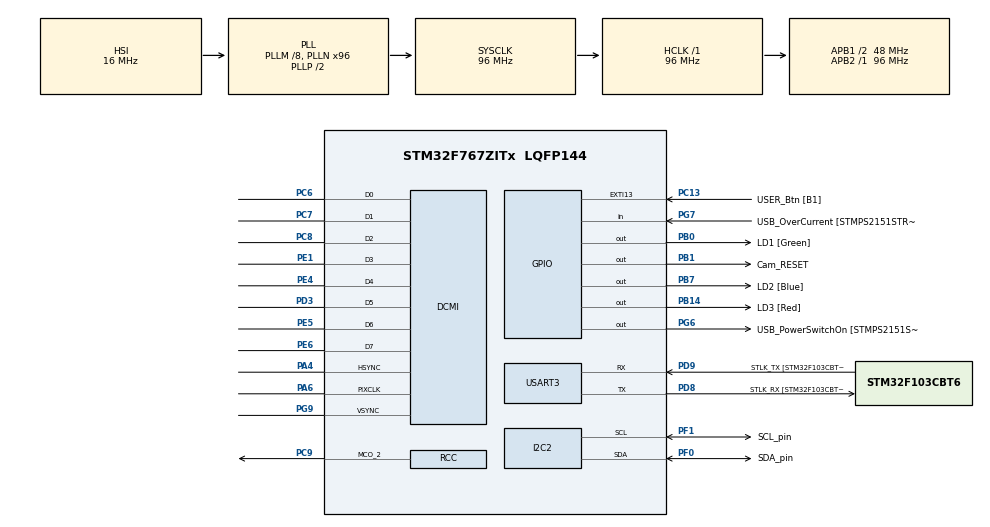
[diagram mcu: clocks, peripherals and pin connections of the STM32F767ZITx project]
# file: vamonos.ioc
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DCMI.HSPolarity=DCMI_HSPOLARITY_HIGH
DCMI.PCKPolarity=DCMI_PCKPOLARITY_RISING
DCMI.VSPolarity=DCMI_VSPOLARITY_LOW
Dma.DCMI.0.Direction=DMA_PERIPH_TO_MEMORY
Dma.DCMI.0.FIFOMode=DMA_FIFOMODE_ENABLE
Dma.DCMI.0.FIFOThreshold=DMA_FIFO_THRESHOLD_FULL
Dma.DCMI.0.Instance=DMA2_Stream1
Dma.DCMI.0.MemBurst=DMA_MBURST_INC4
Dma.DCMI.0.MemDataAlignment=DMA_MDATAALIGN_WORD
Dma.DCMI.0.MemInc=DMA_MINC_ENABLE
Dma.DCMI.0.Mode=DMA_CIRCULAR
Dma.DCMI.0.PeriphBurst=DMA_PBURST_SINGLE
Dma.DCMI.0.PeriphDataAlignment=DMA_PDATAALIGN_WORD
Dma.DCMI.0.PeriphInc=DMA_PINC_DISABLE
Dma.DCMI.0.Priority=DMA_PRIORITY_HIGH
Dma.Request0=DCMI
I2C2.Timing=0x20303E5D
Mcu.Family=STM32F7
Mcu.Name=STM32F767ZITx
Mcu.Package=LQFP144
NVIC.DCMI_IRQn=true\:0\:0\:false\:false\:true\:true\:true\:true
NVIC.DMA2_Stream1_IRQn=true\:0\:0\:false\:false\:true\:false\:true\:true
NVIC.PriorityGroup=NVIC_PRIORITYGROUP_4
NVIC.TIM2_IRQn=true\:0\:0\:false\:false\:true\:true\:true\:true
NVIC.USART3_IRQn=true\:0\:0\:false\:false\:true\:true\:true\:true
PA14.GPIO_Label=TCK
PA14.Signal=SYS_JTCK-SWCLK
PA4.GPIO_Mode=GPIO_MODE_AF_PP
PA4.GPIO_PuPd=GPIO_NOPULL
PA4.GPIO_Speed=GPIO_SPEED_FREQ_VERY_HIGH
PA4.Mode=Slave_8_bits_External_Synchro
PA4.Signal=DCMI_HSYNC
PA6.GPIO_Mode=GPIO_MODE_AF_PP
PA6.GPIO_PuPd=GPIO_NOPULL
PA6.GPIO_Speed=GPIO_SPEED_FREQ_VERY_HIGH
PA6.Mode=Slave_8_bits_External_Synchro
PA6.Signal=DCMI_PIXCLK
PB0.GPIO_Label=LD1 [Green]
PB0.PinState=GPIO_PIN_SET
PB0.Signal=GPIO_Output
PB1.GPIO_Label=Cam_RESET
PB1.Signal=GPIO_Output
PB14.GPIO_Label=LD3 [Red]
PB14.GPIO_PuPd=GPIO_NOPULL
PB14.GPIO_Speed=GPIO_SPEED_FREQ_VERY_HIGH
PB14.PinState=GPIO_PIN_SET
PB14.Signal=GPIO_Output
PB3.GPIO_Label=SW0
PB3.Signal=SYS_JTDO-SWO
PB7.GPIO_FM7=SYSCFG_PMC_I2C_PB7_FMP
PB7.GPIO_Label=LD2 [Blue]
PB7.GPIO_Speed=GPIO_SPEED_FREQ_VERY_HIGH
PB7.Signal=GPIO_Output
PC13.GPIO_Label=USER_Btn [B1]
PC13.Signal=GPXTI13
PC14/OSC32_IN.Signal=RCC_OSC32_IN
PC15/OSC32_OUT.Signal=RCC_OSC32_OUT
PC6.GPIO_Mode=GPIO_MODE_AF_PP
PC6.GPIO_PuPd=GPIO_NOPULL
PC6.GPIO_Speed=GPIO_SPEED_FREQ_VERY_HIGH
PC6.Mode=Slave_8_bits_External_Synchro
PC6.Signal=DCMI_D0
PC7.GPIO_Mode=GPIO_MODE_AF_PP
PC7.GPIO_PuPd=GPIO_NOPULL
PC7.GPIO_Speed=GPIO_SPEED_FREQ_VERY_HIGH
PC7.Mode=Slave_8_bits_External_Synchro
PC7.Signal=DCMI_D1
PC8.GPIO_Mode=GPIO_MODE_AF_PP
PC8.GPIO_PuPd=GPIO_NOPULL
PC8.GPIO_Speed=GPIO_SPEED_FREQ_VERY_HIGH
PC8.Mode=Slave_8_bits_External_Synchro
PC8.Signal=DCMI_D2
PC9.Mode=Clock-out-2
PC9.Signal=RCC_MCO_2
PD3.GPIO_Mode=GPIO_MODE_AF_PP
PD3.GPIO_PuPd=GPIO_NOPULL
PD3.GPIO_Speed=GPIO_SPEED_FREQ_VERY_HIGH
PD3.Mode=Slave_8_bits_External_Synchro
PD3.Signal=DCMI_D5
PD8.GPIO_Label=STLK_RX [STM32F103CBT6_PA3]
PD8.Mode=Asynchronous
PD8.Signal=USART3_TX
PD9.GPIO_Label=STLK_TX [STM32F103CBT6_PA2]
PD9.Mode=Asynchronous
PD9.Signal=USART3_RX
PE1.GPIO_Mode=GPIO_MODE_AF_PP
PE1.GPIO_PuPd=GPIO_NOPULL
PE1.GPIO_Speed=GPIO_SPEED_FREQ_VERY_HIGH
PE1.Mode=Slave_8_bits_External_Synchro
PE1.Signal=DCMI_D3
PE4.GPIO_Mode=GPIO_MODE_AF_PP
PE4.GPIO_PuPd=GPIO_NOPULL
PE4.GPIO_Speed=GPIO_SPEED_FREQ_VERY_HIGH
PE4.Mode=Slave_8_bits_External_Synchro
PE4.Signal=DCMI_D4
PE5.GPIO_Mode=GPIO_MODE_AF_PP
PE5.GPIO_PuPd=GPIO_NOPULL
PE5.GPIO_Speed=GPIO_SPEED_FREQ_VERY_HIGH
PE5.Mode=Slave_8_bits_External_Synchro
PE5.Signal=DCMI_D6
PE6.GPIO_Mode=GPIO_MODE_AF_PP
PE6.GPIO_PuPd=GPIO_NOPULL
PE6.GPIO_Speed=GPIO_SPEED_FREQ_VERY_HIGH
PE6.Mode=Slave_8_bits_External_Synchro
PE6.Signal=DCMI_D7
PF0.GPIO_Label=SDA_pin
PF0.Mode=I2C
PF0.Signal=I2C2_SDA
PF1.GPIO_Label=SCL_pin
PF1.Mode=I2C
PF1.Signal=I2C2_SCL
PF9.Signal=S_TIM14_CH1
PG6.GPIO_Label=USB_PowerSwitchOn [STMPS2151STR_EN]
PG6.Signal=GPIO_Output
PG7.GPIO_Label=USB_OverCurrent [STMPS2151STR_FAULT]
PG7.Signal=GPIO_Input
PG9.GPIO_Mode=GPIO_MODE_AF_PP
PG9.GPIO_PuPd=GPIO_NOPULL
PG9.GPIO_Speed=GPIO_SPEED_FREQ_VERY_HIGH
PG9.Mode=Slave_8_bits_External_Synchro
PG9.Signal=DCMI_VSYNC
PH0/OSC_IN.Mode=HSE-External-Oscillator
PH0/OSC_IN.Signal=RCC_OSC_IN
PH1/OSC_OUT.Mode=HSE-External-Oscillator
PH1/OSC_OUT.Signal=RCC_OSC_OUT
ProjectManager.HeapSize=0x200
ProjectManager.StackSize=0x400
ProjectManager.TargetToolchain=STM32CubeIDE
RCC.AHBFreq_Value=96000000
RCC.APB1CLKDivider=RCC_HCLK_DIV2
RCC.APB1Freq_Value=48000000
RCC.APB1TimFreq_Value=96000000
RCC.APB2Freq_Value=96000000
RCC.APB2TimFreq_Value=96000000
RCC.CortexFreq_Value=96000000
RCC.HCLKFreq_Value=96000000
RCC.HSE_VALUE=25000000
RCC.HSI_VALUE=16000000
RCC.LSE_VALUE=32768
RCC.PLLM=8
RCC.PLLN=96
RCC.RCC_MCODiv2=RCC_MCODIV_4
RCC.SYSCLKFreq_VALUE=96000000
RCC.SYSCLKSource=RCC_SYSCLKSOURCE_PLLCLK
RCC.USBFreq_Value=96000000
RCC.VCOOutputFreq_Value=192000000
SH.S_TIM14_CH1.0=TIM14_CH1
TIM2.Period=2500-1
TIM2.Prescaler=9600-1
USART3.VirtualMode-Asynchronous=VM_ASYNC
VP_TIM2_VS_ClockSourceINT.Mode=Internal
board=NUCLEO-F767ZI

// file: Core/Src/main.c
/* USER CODE BEGIN Header */
/**
  ******************************************************************************
  * @file           : main.c
  * @brief          : Main program body
  ******************************************************************************
  * @attention
  *
  * Copyright (c) 2023 STMicroelectronics.
  * All rights reserved.
  *
  * This software is licensed under terms that can be found in the LICENSE file
  * in the root directory of this software component.
  * If no LICENSE file comes with this software, it is provided AS-IS.
  *
  ******************************************************************************
  */
/* USER CODE END Header */
#include "main.h"

/* USER CODE BEGIN Includes */
#include "string.h"
#include "stdio.h"
#include "Funciones.h"
/* USER CODE END Includes */

/* USER CODE BEGIN PM */
#define AXL345 (0x1D << 1)
#define AXL_ID 0x00

#define OV7670 0x42

/* USER CODE END PM */

DCMI_HandleTypeDef hdcmi;
DMA_HandleTypeDef hdma_dcmi;

I2C_HandleTypeDef hi2c2;

TIM_HandleTypeDef htim2;

UART_HandleTypeDef huart3;

/* USER CODE BEGIN PV */
uint16_t time_val = 0;
uint8_t data_Reception = 0;
char data_Buffer[64] = {0};

char uart_buffer[64];
uint8_t i2c_buffer;
uint16_t data_i2c[20];

uint8_t pickLed1 = 0;
#define SIZE ((640*480)/4)
uint32_t pruebaDMA[256] = {0};
uint8_t capturando = 0;
/* USER CODE END PV */

void SystemClock_Config(void);
static void MX_GPIO_Init(void);
static void MX_TIM2_Init(void);
static void MX_USART3_UART_Init(void);
static void MX_I2C2_Init(void);
static void MX_DMA_Init(void);
static void MX_DCMI_Init(void);
/* USER CODE BEGIN PFP */
void DMATransferComplete(DMA_HandleTypeDef *hdma);
/* USER CODE END PFP */

/* USER CODE BEGIN 0 */
void HAL_UART_RxCpltCallback(UART_HandleTypeDef *huart){
	HAL_UART_Receive_IT(&huart3, &data_Reception, 1);
}

void HAL_UART_TxCpltCallback(UART_HandleTypeDef *huart){

}

void HAL_TIM_PeriodElapsedCallback(TIM_HandleTypeDef *htim){
	if(htim == &htim2){
		switch (pickLed1) {
			case 0:
				HAL_GPIO_TogglePin(LD1_GPIO_Port, LD1_Pin);
				pickLed1++;
				break;

			case 1:
				HAL_GPIO_TogglePin(LD2_GPIO_Port, LD2_Pin);
				pickLed1++;
				break;

			case 2:
				HAL_GPIO_TogglePin(LD3_GPIO_Port, LD3_Pin);
				pickLed1 = 0;
				break;
			default:
				break;
		}
	}
}

//void HAL_DCMI_LineEventCallback(DCMI_HandleTypeDef *hdcmi){
//	sprintf(uart_buffer, "Linea!");
//	HAL_UART_Transmit_IT(&huart3, (uint8_t*) uart_buffer, strlen(uart_buffer));
//}
//
//
//void HAL_DCMI_VsyncEventCallback(DCMI_HandleTypeDef *hdcmi){
//	sprintf(uart_buffer, "Vsync!");
//	HAL_UART_Transmit(&huart3, (uint8_t*) uart_buffer, strlen(uart_buffer), 10);
//}
//
void HAL_DCMI_FrameEventCallback(DCMI_HandleTypeDef *hdcmi){
	capturando = 0;
	HAL_DCMI_Stop(hdcmi);
	sprintf(uart_buffer, "Frame!");
	HAL_UART_Transmit(&huart3, (uint8_t*) uart_buffer, strlen(uart_buffer), 10);
}

void HAL_DCMI_ErrorCallback(DCMI_HandleTypeDef *hdcmi){
	sprintf(uart_buffer, "Error DCMI!");
	HAL_UART_Transmit(&huart3, (uint8_t*) uart_buffer, strlen(uart_buffer), 100);
}
/* USER CODE END 0 */

int main(void)
{

  /* MCU Configuration--------------------------------------------------------*/

  /* Reset of all peripherals, Initializes the Flash interface and the Systick. */
  HAL_Init();

  /* Configure the system clock */
  SystemClock_Config();

  /* Initialize all configured peripherals */
  MX_GPIO_Init();
  MX_TIM2_Init();
  MX_USART3_UART_Init();
  MX_I2C2_Init();
  MX_DMA_Init();
  MX_DCMI_Init();
  /* USER CODE BEGIN 2 */
  HAL_TIM_Base_Start_IT(&htim2); /* Inicio led estado */
  HAL_UART_Receive_IT(&huart3, &data_Reception, 1); /* Inicializacion RX IT */

  HAL_StatusTypeDef ret; // Variable para probar funciones

  ret = ov7670_init(&hdcmi, &hdma_dcmi, &huart3, &hi2c2);
  while(ret != HAL_OK);

  /* Imprimir cosas */
  strcpy(uart_buffer, "Inicialización completa.\n");
  HAL_UART_Transmit(&huart3, (uint8_t*) uart_buffer, strlen(uart_buffer), 10);

  /* USER CODE END 2 */

  /* Infinite loop */
  /* USER CODE BEGIN WHILE */
  while (1)
  {
	  if(data_Reception != '\0'){
		 if(data_Reception == 'a'){
//			 strcpy(uart_buffer, "Test.\n");
			 ret = HAL_DCMI_Start_DMA(&hdcmi, DCMI_MODE_SNAPSHOT, (uint32_t)pruebaDMA, 60000);

			if(ret == HAL_OK){
				capturando = 1;
				strcpy(uart_buffer, "DCMI good.\n");
				while(capturando == 1);
				HAL_DCMI_Stop(&hdcmi);

			}
			else {
				capturando = 0;
				strcpy(uart_buffer, "No hizo cosas.\n");
			}

			HAL_UART_Transmit(&huart3, (uint8_t*)uart_buffer, strlen(uart_buffer),100);
			data_Reception = '\0';
		 }

		 if(data_Reception == 'b'){
			 data_Reception = '\0';
			 for(uint32_t i = 0; i < 60000; i++){
				 char buff[4];
				 for(int j = 3; j >= 0; j--){
					 buff[j] = (0xFF) & (pruebaDMA[i] >> (8 * j));
				 }
				 HAL_UART_Transmit(&huart3, (uint8_t*)buff, sizeof(buff), 100);
			 }
		 }

		 if(data_Reception == 'c'){
		 		uint8_t buff[4] = {1,2,3,4};
		 		HAL_UART_Transmit(&huart3, (uint8_t*)buff, sizeof(buff), 100);
		 		data_Reception = '\0';
		}
	 }

  }

    /* USER CODE END WHILE */

}

void SystemClock_Config(void)
{
  RCC_OscInitTypeDef RCC_OscInitStruct = {0};
  RCC_ClkInitTypeDef RCC_ClkInitStruct = {0};

  /** Configure the main internal regulator output voltage
  */
  __HAL_RCC_PWR_CLK_ENABLE();
  __HAL_PWR_VOLTAGESCALING_CONFIG(PWR_REGULATOR_VOLTAGE_SCALE3);

  /** Initializes the RCC Oscillators according to the specified parameters
  * in the RCC_OscInitTypeDef structure.
  */
  RCC_OscInitStruct.OscillatorType = RCC_OSCILLATORTYPE_HSI;
  RCC_OscInitStruct.HSIState = RCC_HSI_ON;
  RCC_OscInitStruct.HSICalibrationValue = RCC_HSICALIBRATION_DEFAULT;
  RCC_OscInitStruct.PLL.PLLState = RCC_PLL_ON;
  RCC_OscInitStruct.PLL.PLLSource = RCC_PLLSOURCE_HSI;
  RCC_OscInitStruct.PLL.PLLM = 8;
  RCC_OscInitStruct.PLL.PLLN = 96;
  RCC_OscInitStruct.PLL.PLLP = RCC_PLLP_DIV2;
  RCC_OscInitStruct.PLL.PLLQ = 2;
  RCC_OscInitStruct.PLL.PLLR = 2;
  if (HAL_RCC_OscConfig(&RCC_OscInitStruct) != HAL_OK)
  {
    Error_Handler();
  }

  /** Activate the Over-Drive mode
  */
  if (HAL_PWREx_EnableOverDrive() != HAL_OK)
  {
    Error_Handler();
  }

  /** Initializes the CPU, AHB and APB buses clocks
  */
  RCC_ClkInitStruct.ClockType = RCC_CLOCKTYPE_HCLK|RCC_CLOCKTYPE_SYSCLK
                              |RCC_CLOCKTYPE_PCLK1|RCC_CLOCKTYPE_PCLK2;
  RCC_ClkInitStruct.SYSCLKSource = RCC_SYSCLKSOURCE_PLLCLK;
  RCC_ClkInitStruct.AHBCLKDivider = RCC_SYSCLK_DIV1;
  RCC_ClkInitStruct.APB1CLKDivider = RCC_HCLK_DIV2;
  RCC_ClkInitStruct.APB2CLKDivider = RCC_HCLK_DIV1;

  if (HAL_RCC_ClockConfig(&RCC_ClkInitStruct, FLASH_LATENCY_3) != HAL_OK)
  {
    Error_Handler();
  }
  HAL_RCC_MCOConfig(RCC_MCO2, RCC_MCO2SOURCE_SYSCLK, RCC_MCODIV_4);
}

static void MX_DCMI_Init(void)
{

  hdcmi.Instance = DCMI;
  hdcmi.Init.SynchroMode = DCMI_SYNCHRO_HARDWARE;
  hdcmi.Init.PCKPolarity = DCMI_PCKPOLARITY_RISING;
  hdcmi.Init.VSPolarity = DCMI_VSPOLARITY_LOW;
  hdcmi.Init.HSPolarity = DCMI_HSPOLARITY_HIGH;
  hdcmi.Init.CaptureRate = DCMI_CR_ALL_FRAME;
  hdcmi.Init.ExtendedDataMode = DCMI_EXTEND_DATA_8B;
  hdcmi.Init.JPEGMode = DCMI_JPEG_DISABLE;
  hdcmi.Init.ByteSelectMode = DCMI_BSM_ALL;
  hdcmi.Init.ByteSelectStart = DCMI_OEBS_ODD;
  hdcmi.Init.LineSelectMode = DCMI_LSM_ALL;
  hdcmi.Init.LineSelectStart = DCMI_OELS_ODD;
  if (HAL_DCMI_Init(&hdcmi) != HAL_OK)
  {
    Error_Handler();
  }

}

static void MX_I2C2_Init(void)
{

  hi2c2.Instance = I2C2;
  hi2c2.Init.Timing = 0x20303E5D;
  hi2c2.Init.OwnAddress1 = 0;
  hi2c2.Init.AddressingMode = I2C_ADDRESSINGMODE_7BIT;
  hi2c2.Init.DualAddressMode = I2C_DUALADDRESS_DISABLE;
  hi2c2.Init.OwnAddress2 = 0;
  hi2c2.Init.OwnAddress2Masks = I2C_OA2_NOMASK;
  hi2c2.Init.GeneralCallMode = I2C_GENERALCALL_DISABLE;
  hi2c2.Init.NoStretchMode = I2C_NOSTRETCH_DISABLE;
  if (HAL_I2C_Init(&hi2c2) != HAL_OK)
  {
    Error_Handler();
  }

  /** Configure Analogue filter
  */
  if (HAL_I2CEx_ConfigAnalogFilter(&hi2c2, I2C_ANALOGFILTER_ENABLE) != HAL_OK)
  {
    Error_Handler();
  }

  /** Configure Digital filter
  */
  if (HAL_I2CEx_ConfigDigitalFilter(&hi2c2, 0) != HAL_OK)
  {
    Error_Handler();
  }

}

static void MX_TIM2_Init(void)
{

  TIM_ClockConfigTypeDef sClockSourceConfig = {0};
  TIM_MasterConfigTypeDef sMasterConfig = {0};

  htim2.Instance = TIM2;
  htim2.Init.Prescaler = 9600-1;
  htim2.Init.CounterMode = TIM_COUNTERMODE_UP;
  htim2.Init.Period = 2500-1;
  htim2.Init.ClockDivision = TIM_CLOCKDIVISION_DIV1;
  htim2.Init.AutoReloadPreload = TIM_AUTORELOAD_PRELOAD_DISABLE;
  if (HAL_TIM_Base_Init(&htim2) != HAL_OK)
  {
    Error_Handler();
  }
  sClockSourceConfig.ClockSource = TIM_CLOCKSOURCE_INTERNAL;
  if (HAL_TIM_ConfigClockSource(&htim2, &sClockSourceConfig) != HAL_OK)
  {
    Error_Handler();
  }
  sMasterConfig.MasterOutputTrigger = TIM_TRGO_RESET;
  sMasterConfig.MasterSlaveMode = TIM_MASTERSLAVEMODE_DISABLE;
  if (HAL_TIMEx_MasterConfigSynchronization(&htim2, &sMasterConfig) != HAL_OK)
  {
    Error_Handler();
  }

}

static void MX_USART3_UART_Init(void)
{

  huart3.Instance = USART3;
  huart3.Init.BaudRate = 115200;
  huart3.Init.WordLength = UART_WORDLENGTH_8B;
  huart3.Init.StopBits = UART_STOPBITS_1;
  huart3.Init.Parity = UART_PARITY_NONE;
  huart3.Init.Mode = UART_MODE_TX_RX;
  huart3.Init.HwFlowCtl = UART_HWCONTROL_NONE;
  huart3.Init.OverSampling = UART_OVERSAMPLING_16;
  huart3.Init.OneBitSampling = UART_ONE_BIT_SAMPLE_DISABLE;
  huart3.AdvancedInit.AdvFeatureInit = UART_ADVFEATURE_NO_INIT;
  if (HAL_UART_Init(&huart3) != HAL_OK)
  {
    Error_Handler();
  }

}

static void MX_DMA_Init(void)
{

  /* DMA controller clock enable */
  __HAL_RCC_DMA2_CLK_ENABLE();

  /* DMA interrupt init */
  /* DMA2_Stream1_IRQn interrupt configuration */
  HAL_NVIC_SetPriority(DMA2_Stream1_IRQn, 0, 0);
  HAL_NVIC_EnableIRQ(DMA2_Stream1_IRQn);

}

static void MX_GPIO_Init(void)
{
  GPIO_InitTypeDef GPIO_InitStruct = {0};

  /* GPIO Ports Clock Enable */
  __HAL_RCC_GPIOE_CLK_ENABLE();
  __HAL_RCC_GPIOC_CLK_ENABLE();
  __HAL_RCC_GPIOF_CLK_ENABLE();
  __HAL_RCC_GPIOH_CLK_ENABLE();
  __HAL_RCC_GPIOA_CLK_ENABLE();
  __HAL_RCC_GPIOB_CLK_ENABLE();
  __HAL_RCC_GPIOD_CLK_ENABLE();
  __HAL_RCC_GPIOG_CLK_ENABLE();

  /*Configure GPIO pin Output Level */
  HAL_GPIO_WritePin(GPIOB, LD1_Pin|LD3_Pin, GPIO_PIN_SET);

  /*Configure GPIO pin Output Level */
  HAL_GPIO_WritePin(GPIOB, Cam_RESET_Pin|LD2_Pin, GPIO_PIN_RESET);

  /*Configure GPIO pin Output Level */
  HAL_GPIO_WritePin(USB_PowerSwitchOn_GPIO_Port, USB_PowerSwitchOn_Pin, GPIO_PIN_RESET);

  /*Configure GPIO pin : USER_Btn_Pin */
  GPIO_InitStruct.Pin = USER_Btn_Pin;
  GPIO_InitStruct.Mode = GPIO_MODE_IT_RISING;
  GPIO_InitStruct.Pull = GPIO_NOPULL;
  HAL_GPIO_Init(USER_Btn_GPIO_Port, &GPIO_InitStruct);

  /*Configure GPIO pin : PF9 */
  GPIO_InitStruct.Pin = GPIO_PIN_9;
  GPIO_InitStruct.Mode = GPIO_MODE_AF_PP;
  GPIO_InitStruct.Pull = GPIO_NOPULL;
  GPIO_InitStruct.Speed = GPIO_SPEED_FREQ_LOW;
  GPIO_InitStruct.Alternate = GPIO_AF9_TIM14;
  HAL_GPIO_Init(GPIOF, &GPIO_InitStruct);

  /*Configure GPIO pins : LD1_Pin Cam_RESET_Pin */
  GPIO_InitStruct.Pin = LD1_Pin|Cam_RESET_Pin;
  GPIO_InitStruct.Mode = GPIO_MODE_OUTPUT_PP;
  GPIO_InitStruct.Pull = GPIO_NOPULL;
  GPIO_InitStruct.Speed = GPIO_SPEED_FREQ_LOW;
  HAL_GPIO_Init(GPIOB, &GPIO_InitStruct);

  /*Configure GPIO pins : LD3_Pin LD2_Pin */
  GPIO_InitStruct.Pin = LD3_Pin|LD2_Pin;
  GPIO_InitStruct.Mode = GPIO_MODE_OUTPUT_PP;
  GPIO_InitStruct.Pull = GPIO_NOPULL;
  GPIO_InitStruct.Speed = GPIO_SPEED_FREQ_VERY_HIGH;
  HAL_GPIO_Init(GPIOB, &GPIO_InitStruct);

  /*Configure GPIO pin : USB_PowerSwitchOn_Pin */
  GPIO_InitStruct.Pin = USB_PowerSwitchOn_Pin;
  GPIO_InitStruct.Mode = GPIO_MODE_OUTPUT_PP;
  GPIO_InitStruct.Pull = GPIO_NOPULL;
  GPIO_InitStruct.Speed = GPIO_SPEED_FREQ_LOW;
  HAL_GPIO_Init(USB_PowerSwitchOn_GPIO_Port, &GPIO_InitStruct);

  /*Configure GPIO pin : USB_OverCurrent_Pin */
  GPIO_InitStruct.Pin = USB_OverCurrent_Pin;
  GPIO_InitStruct.Mode = GPIO_MODE_INPUT;
  GPIO_InitStruct.Pull = GPIO_NOPULL;
  HAL_GPIO_Init(USB_OverCurrent_GPIO_Port, &GPIO_InitStruct);

  /*Configure GPIO pin : PC9 */
  GPIO_InitStruct.Pin = GPIO_PIN_9;
  GPIO_InitStruct.Mode = GPIO_MODE_AF_PP;
  GPIO_InitStruct.Pull = GPIO_NOPULL;
  GPIO_InitStruct.Speed = GPIO_SPEED_FREQ_LOW;
  GPIO_InitStruct.Alternate = GPIO_AF0_MCO;
  HAL_GPIO_Init(GPIOC, &GPIO_InitStruct);

  /**/
  HAL_I2CEx_EnableFastModePlus(SYSCFG_PMC_I2C_PB7_FMP);

}

/* USER CODE BEGIN 4 */
void DMATransferComplete(DMA_HandleTypeDef *hdma){
	//Disable DCMI
	HAL_DCMI_Stop(&hdcmi);
}

/* USER CODE END 4 */

void Error_Handler(void)
{
  /* USER CODE BEGIN Error_Handler_Debug */
  /* User can add his own implementation to report the HAL error return state */
  __disable_irq();
  while (1)
  {
//	  HAL_UART_Transmit(&huart3, (uint8_t) "Pasó algo", 20, 100);
//	  HAL_Delay(1000);
  }
  /* USER CODE END Error_Handler_Debug */
}
